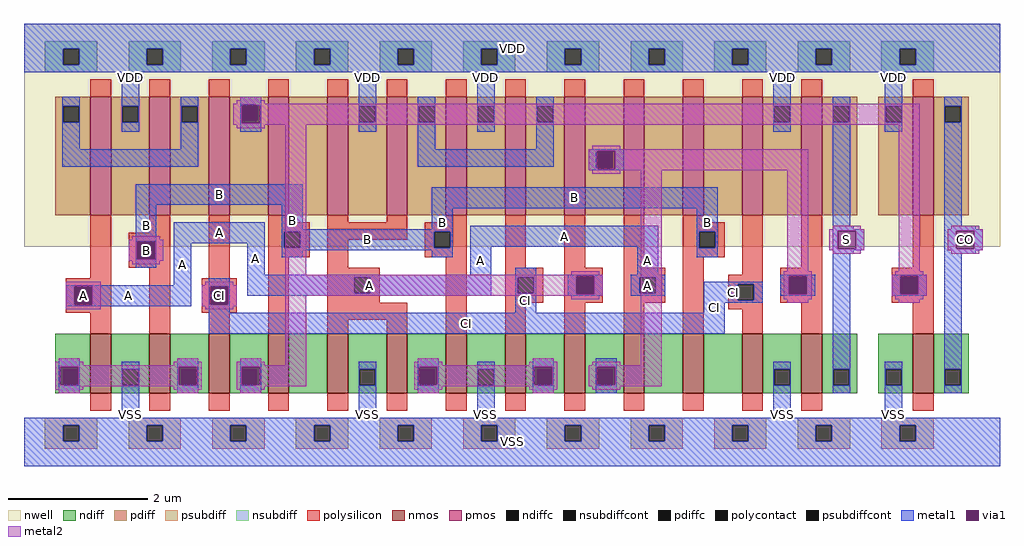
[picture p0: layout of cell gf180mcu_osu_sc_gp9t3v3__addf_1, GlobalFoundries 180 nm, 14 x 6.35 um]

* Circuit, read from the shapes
.subckt gf180mcu_osu_sc_gp9t3v3__addf_1 A B CI S CO VDD VSS
XM1 VSS A n1 VSS nfet_03v3 w=0.85u l=0.3u
XM2 n1 B VSS VSS nfet_03v3 w=0.85u l=0.3u
XM3 n2 CI n1 VSS nfet_03v3 w=0.85u l=0.3u
XM4 n3 B n2 VSS nfet_03v3 w=0.85u l=0.3u
XM5 VSS A n3 VSS nfet_03v3 w=0.85u l=0.3u
XM6 n4 A VSS VSS nfet_03v3 w=0.85u l=0.3u
XM7 VSS B n4 VSS nfet_03v3 w=0.85u l=0.3u
XM8 n4 CI VSS VSS nfet_03v3 w=0.85u l=0.3u
XM9 n5 n2 n4 VSS nfet_03v3 w=0.85u l=0.3u
XM10 n6 A n5 VSS nfet_03v3 w=0.85u l=0.3u
XM11 n7 B n6 VSS nfet_03v3 w=0.85u l=0.3u
XM12 VSS CI n7 VSS nfet_03v3 w=0.85u l=0.3u
XM13 S n5 VSS VSS nfet_03v3 w=0.85u l=0.3u
XM14 CO n2 VSS VSS nfet_03v3 w=0.85u l=0.3u
XM15 VDD A n8 VDD pfet_03v3 w=1.7u l=0.3u
XM16 n8 B VDD VDD pfet_03v3 w=1.7u l=0.3u
XM17 n2 CI n8 VDD pfet_03v3 w=1.7u l=0.3u
XM18 n9 B n2 VDD pfet_03v3 w=1.7u l=0.3u
XM19 VDD A n9 VDD pfet_03v3 w=1.7u l=0.3u
XM20 n10 A VDD VDD pfet_03v3 w=1.7u l=0.3u
XM21 VDD B n10 VDD pfet_03v3 w=1.7u l=0.3u
XM22 n10 CI VDD VDD pfet_03v3 w=1.7u l=0.3u
XM23 n5 n2 n10 VDD pfet_03v3 w=1.7u l=0.3u
XM24 n11 A n5 VDD pfet_03v3 w=1.7u l=0.3u
XM25 n12 B n11 VDD pfet_03v3 w=1.7u l=0.3u
XM26 VDD CI n12 VDD pfet_03v3 w=1.7u l=0.3u
XM27 S n5 VDD VDD pfet_03v3 w=1.7u l=0.3u
XM28 CO n2 VDD VDD pfet_03v3 w=1.7u l=0.3u
.ends

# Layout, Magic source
magic
tech gf180mcuA
magscale 1 10
<< nwell >>
rect 0 630 2800 1270
<< nmos >>
rect 190 210 250 380
rect 360 210 420 380
rect 530 210 590 380
rect 700 210 760 380
rect 870 210 930 380
rect 1040 210 1100 380
rect 1210 210 1270 380
rect 1380 210 1440 380
rect 1550 210 1610 380
rect 1720 210 1780 380
rect 1890 210 1950 380
rect 2060 210 2120 380
rect 2230 210 2290 380
rect 2550 210 2610 380
<< pmos >>
rect 190 720 250 1060
rect 360 720 420 1060
rect 530 720 590 1060
rect 700 720 760 1060
rect 870 720 930 1060
rect 1040 720 1100 1060
rect 1210 720 1270 1060
rect 1380 720 1440 1060
rect 1550 720 1610 1060
rect 1720 720 1780 1060
rect 1890 720 1950 1060
rect 2060 720 2120 1060
rect 2230 720 2290 1060
rect 2550 720 2610 1060
<< ndiff >>
rect 90 278 190 380
rect 90 232 112 278
rect 158 232 190 278
rect 90 210 190 232
rect 250 278 360 380
rect 250 232 282 278
rect 328 232 360 278
rect 250 210 360 232
rect 420 278 530 380
rect 420 232 452 278
rect 498 232 530 278
rect 420 210 530 232
rect 590 278 700 380
rect 590 232 622 278
rect 668 232 700 278
rect 590 210 700 232
rect 760 210 870 380
rect 930 278 1040 380
rect 930 232 962 278
rect 1008 232 1040 278
rect 930 210 1040 232
rect 1100 278 1210 380
rect 1100 232 1132 278
rect 1178 232 1210 278
rect 1100 210 1210 232
rect 1270 278 1380 380
rect 1270 232 1302 278
rect 1348 232 1380 278
rect 1270 210 1380 232
rect 1440 278 1550 380
rect 1440 232 1472 278
rect 1518 232 1550 278
rect 1440 210 1550 232
rect 1610 278 1720 380
rect 1610 232 1642 278
rect 1688 232 1720 278
rect 1610 210 1720 232
rect 1780 210 1890 380
rect 1950 210 2060 380
rect 2120 278 2230 380
rect 2120 232 2152 278
rect 2198 232 2230 278
rect 2120 210 2230 232
rect 2290 278 2390 380
rect 2290 232 2322 278
rect 2368 232 2390 278
rect 2290 210 2390 232
rect 2450 278 2550 380
rect 2450 232 2472 278
rect 2518 232 2550 278
rect 2450 210 2550 232
rect 2610 278 2710 380
rect 2610 232 2642 278
rect 2688 232 2710 278
rect 2610 210 2710 232
<< pdiff >>
rect 90 1033 190 1060
rect 90 987 112 1033
rect 158 987 190 1033
rect 90 720 190 987
rect 250 1033 360 1060
rect 250 987 282 1033
rect 328 987 360 1033
rect 250 720 360 987
rect 420 1033 530 1060
rect 420 987 452 1033
rect 498 987 530 1033
rect 420 720 530 987
rect 590 1038 700 1060
rect 590 992 622 1038
rect 668 992 700 1038
rect 590 720 700 992
rect 760 720 870 1060
rect 930 1033 1040 1060
rect 930 987 962 1033
rect 1008 987 1040 1033
rect 930 720 1040 987
rect 1100 1033 1210 1060
rect 1100 987 1132 1033
rect 1178 987 1210 1033
rect 1100 720 1210 987
rect 1270 1033 1380 1060
rect 1270 987 1302 1033
rect 1348 987 1380 1033
rect 1270 720 1380 987
rect 1440 1033 1550 1060
rect 1440 987 1472 1033
rect 1518 987 1550 1033
rect 1440 720 1550 987
rect 1610 903 1720 1060
rect 1610 857 1642 903
rect 1688 857 1720 903
rect 1610 720 1720 857
rect 1780 720 1890 1060
rect 1950 720 2060 1060
rect 2120 1033 2230 1060
rect 2120 987 2152 1033
rect 2198 987 2230 1033
rect 2120 720 2230 987
rect 2290 1033 2390 1060
rect 2290 987 2322 1033
rect 2368 987 2390 1033
rect 2290 720 2390 987
rect 2450 1033 2550 1060
rect 2450 987 2472 1033
rect 2518 987 2550 1033
rect 2450 720 2550 987
rect 2610 1033 2710 1060
rect 2610 987 2642 1033
rect 2688 987 2710 1033
rect 2610 720 2710 987
<< ndiffc >>
rect 112 232 158 278
rect 282 232 328 278
rect 452 232 498 278
rect 622 232 668 278
rect 962 232 1008 278
rect 1132 232 1178 278
rect 1302 232 1348 278
rect 1472 232 1518 278
rect 1642 232 1688 278
rect 2152 232 2198 278
rect 2322 232 2368 278
rect 2472 232 2518 278
rect 2642 232 2688 278
<< pdiffc >>
rect 112 987 158 1033
rect 282 987 328 1033
rect 452 987 498 1033
rect 622 992 668 1038
rect 962 987 1008 1033
rect 1132 987 1178 1033
rect 1302 987 1348 1033
rect 1472 987 1518 1033
rect 1642 857 1688 903
rect 2152 987 2198 1033
rect 2322 987 2368 1033
rect 2472 987 2518 1033
rect 2642 987 2688 1033
<< psubdiff >>
rect 60 118 210 140
rect 60 72 112 118
rect 158 72 210 118
rect 60 50 210 72
rect 300 118 450 140
rect 300 72 352 118
rect 398 72 450 118
rect 300 50 450 72
rect 540 118 690 140
rect 540 72 592 118
rect 638 72 690 118
rect 540 50 690 72
rect 780 118 930 140
rect 780 72 832 118
rect 878 72 930 118
rect 780 50 930 72
rect 1020 118 1170 140
rect 1020 72 1072 118
rect 1118 72 1170 118
rect 1020 50 1170 72
rect 1260 118 1410 140
rect 1260 72 1312 118
rect 1358 72 1410 118
rect 1260 50 1410 72
rect 1500 118 1650 140
rect 1500 72 1552 118
rect 1598 72 1650 118
rect 1500 50 1650 72
rect 1740 118 1890 140
rect 1740 72 1792 118
rect 1838 72 1890 118
rect 1740 50 1890 72
rect 1980 118 2130 140
rect 1980 72 2032 118
rect 2078 72 2130 118
rect 1980 50 2130 72
rect 2220 118 2370 140
rect 2220 72 2272 118
rect 2318 72 2370 118
rect 2220 50 2370 72
rect 2460 118 2610 140
rect 2460 72 2512 118
rect 2558 72 2610 118
rect 2460 50 2610 72
<< nsubdiff >>
rect 60 1198 210 1220
rect 60 1152 112 1198
rect 158 1152 210 1198
rect 60 1130 210 1152
rect 300 1198 450 1220
rect 300 1152 352 1198
rect 398 1152 450 1198
rect 300 1130 450 1152
rect 540 1198 690 1220
rect 540 1152 592 1198
rect 638 1152 690 1198
rect 540 1130 690 1152
rect 780 1198 930 1220
rect 780 1152 832 1198
rect 878 1152 930 1198
rect 780 1130 930 1152
rect 1020 1198 1170 1220
rect 1020 1152 1072 1198
rect 1118 1152 1170 1198
rect 1020 1130 1170 1152
rect 1260 1198 1410 1220
rect 1260 1152 1312 1198
rect 1358 1152 1410 1198
rect 1260 1130 1410 1152
rect 1500 1198 1650 1220
rect 1500 1152 1552 1198
rect 1598 1152 1650 1198
rect 1500 1130 1650 1152
rect 1740 1198 1890 1220
rect 1740 1152 1792 1198
rect 1838 1152 1890 1198
rect 1740 1130 1890 1152
rect 1980 1198 2130 1220
rect 1980 1152 2032 1198
rect 2078 1152 2130 1198
rect 1980 1130 2130 1152
rect 2220 1198 2370 1220
rect 2220 1152 2272 1198
rect 2318 1152 2370 1198
rect 2220 1130 2370 1152
rect 2460 1198 2610 1220
rect 2460 1152 2512 1198
rect 2558 1152 2610 1198
rect 2460 1130 2610 1152
<< psubdiffcont >>
rect 112 72 158 118
rect 352 72 398 118
rect 592 72 638 118
rect 832 72 878 118
rect 1072 72 1118 118
rect 1312 72 1358 118
rect 1552 72 1598 118
rect 1792 72 1838 118
rect 2032 72 2078 118
rect 2272 72 2318 118
rect 2512 72 2558 118
<< nsubdiffcont >>
rect 112 1152 158 1198
rect 352 1152 398 1198
rect 592 1152 638 1198
rect 832 1152 878 1198
rect 1072 1152 1118 1198
rect 1312 1152 1358 1198
rect 1552 1152 1598 1198
rect 1792 1152 1838 1198
rect 2032 1152 2078 1198
rect 2272 1152 2318 1198
rect 2512 1152 2558 1198
<< polysilicon >>
rect 190 1060 250 1110
rect 360 1060 420 1110
rect 530 1060 590 1110
rect 700 1060 760 1110
rect 870 1060 930 1110
rect 1040 1060 1100 1110
rect 1210 1060 1270 1110
rect 1380 1060 1440 1110
rect 1550 1060 1610 1110
rect 1720 1060 1780 1110
rect 1890 1060 1950 1110
rect 2060 1060 2120 1110
rect 2230 1060 2290 1110
rect 2550 1060 2610 1110
rect 190 540 250 720
rect 360 670 420 720
rect 300 643 420 670
rect 300 597 327 643
rect 373 597 420 643
rect 300 570 420 597
rect 120 513 250 540
rect 120 467 147 513
rect 193 467 250 513
rect 120 440 250 467
rect 190 380 250 440
rect 360 380 420 570
rect 530 540 590 720
rect 700 700 760 720
rect 870 700 930 720
rect 1040 700 1100 720
rect 1210 700 1270 720
rect 700 673 820 700
rect 700 627 747 673
rect 793 627 820 673
rect 700 600 820 627
rect 870 650 1100 700
rect 1150 673 1270 700
rect 510 513 610 540
rect 510 467 537 513
rect 583 467 610 513
rect 510 440 610 467
rect 530 380 590 440
rect 700 380 760 600
rect 870 570 930 650
rect 1150 627 1177 673
rect 1223 627 1270 673
rect 1150 600 1270 627
rect 870 543 1020 570
rect 870 497 947 543
rect 993 497 1020 543
rect 870 470 1020 497
rect 870 420 1100 470
rect 870 380 930 420
rect 1040 380 1100 420
rect 1210 380 1270 600
rect 1380 570 1440 720
rect 1550 570 1610 720
rect 1720 570 1780 720
rect 1890 700 1950 720
rect 1890 673 2010 700
rect 1890 627 1937 673
rect 1983 627 2010 673
rect 1890 600 2010 627
rect 1380 543 1490 570
rect 1380 497 1417 543
rect 1463 497 1490 543
rect 1380 470 1490 497
rect 1550 543 1660 570
rect 1550 497 1587 543
rect 1633 497 1660 543
rect 1550 470 1660 497
rect 1720 543 1840 570
rect 1720 497 1767 543
rect 1813 497 1840 543
rect 1720 470 1840 497
rect 1380 380 1440 470
rect 1550 380 1610 470
rect 1720 380 1780 470
rect 1890 380 1950 600
rect 2060 550 2120 720
rect 2230 570 2290 720
rect 2550 570 2610 720
rect 2020 523 2120 550
rect 2020 477 2047 523
rect 2093 477 2120 523
rect 2020 450 2120 477
rect 2170 543 2290 570
rect 2170 497 2197 543
rect 2243 497 2290 543
rect 2170 470 2290 497
rect 2490 543 2610 570
rect 2490 497 2517 543
rect 2563 497 2610 543
rect 2490 470 2610 497
rect 2060 380 2120 450
rect 2230 380 2290 470
rect 2550 380 2610 470
rect 190 160 250 210
rect 360 160 420 210
rect 530 160 590 210
rect 700 160 760 210
rect 870 160 930 210
rect 1040 160 1100 210
rect 1210 160 1270 210
rect 1380 160 1440 210
rect 1550 160 1610 210
rect 1720 160 1780 210
rect 1890 160 1950 210
rect 2060 160 2120 210
rect 2230 160 2290 210
rect 2550 160 2610 210
<< polycontact >>
rect 327 597 373 643
rect 147 467 193 513
rect 747 627 793 673
rect 537 467 583 513
rect 1177 627 1223 673
rect 947 497 993 543
rect 1937 627 1983 673
rect 1417 497 1463 543
rect 1587 497 1633 543
rect 1767 497 1813 543
rect 2047 477 2093 523
rect 2197 497 2243 543
rect 2517 497 2563 543
<< metal1 >>
rect 0 1198 2800 1270
rect 0 1152 112 1198
rect 158 1152 352 1198
rect 398 1152 592 1198
rect 638 1152 832 1198
rect 878 1152 1072 1198
rect 1118 1152 1312 1198
rect 1358 1152 1552 1198
rect 1598 1152 1792 1198
rect 1838 1152 2032 1198
rect 2078 1152 2272 1198
rect 2318 1152 2512 1198
rect 2558 1152 2800 1198
rect 0 1130 2800 1152
rect 110 1033 160 1060
rect 110 987 112 1033
rect 158 987 160 1033
rect 110 910 160 987
rect 280 1033 330 1130
rect 280 987 282 1033
rect 328 987 330 1033
rect 280 960 330 987
rect 450 1033 500 1060
rect 450 987 452 1033
rect 498 987 500 1033
rect 450 910 500 987
rect 620 1038 680 1060
rect 620 992 622 1038
rect 668 1036 680 1038
rect 620 984 624 992
rect 676 984 680 1036
rect 620 960 680 984
rect 960 1033 1010 1130
rect 960 987 962 1033
rect 1008 987 1010 1033
rect 960 960 1010 987
rect 1130 1033 1180 1060
rect 1130 987 1132 1033
rect 1178 987 1180 1033
rect 110 860 500 910
rect 1130 910 1180 987
rect 1300 1033 1350 1130
rect 1300 987 1302 1033
rect 1348 987 1350 1033
rect 1300 960 1350 987
rect 1470 1033 1520 1060
rect 1470 987 1472 1033
rect 1518 987 1520 1033
rect 1470 910 1520 987
rect 2150 1033 2200 1130
rect 2150 987 2152 1033
rect 2198 987 2200 1033
rect 2150 960 2200 987
rect 2320 1033 2370 1060
rect 2320 987 2322 1033
rect 2368 987 2370 1033
rect 1130 860 1520 910
rect 1620 906 1720 910
rect 1620 903 1644 906
rect 1620 857 1642 903
rect 1620 854 1644 857
rect 1696 854 1720 906
rect 1620 850 1720 854
rect 320 750 800 810
rect 320 646 380 750
rect 320 594 324 646
rect 376 594 380 646
rect 320 570 380 594
rect 430 640 690 700
rect 430 520 480 640
rect 640 550 690 640
rect 740 680 800 750
rect 1170 740 1990 800
rect 1170 680 1230 740
rect 740 673 1230 680
rect 740 627 747 673
rect 793 627 1177 673
rect 1223 627 1230 673
rect 740 620 1230 627
rect 740 600 800 620
rect 1170 600 1230 620
rect 1280 630 1820 690
rect 1280 550 1340 630
rect 640 543 1340 550
rect 120 516 480 520
rect 120 464 144 516
rect 196 464 480 516
rect 120 460 480 464
rect 530 516 590 540
rect 530 464 534 516
rect 586 464 590 516
rect 640 497 947 543
rect 993 497 1340 543
rect 640 490 1340 497
rect 1410 543 1470 570
rect 1760 550 1820 630
rect 1930 673 1990 740
rect 1930 627 1937 673
rect 1983 627 1990 673
rect 1930 600 1990 627
rect 2320 690 2370 987
rect 2470 1033 2520 1130
rect 2470 987 2472 1033
rect 2518 987 2520 1033
rect 2470 960 2520 987
rect 2640 1033 2690 1060
rect 2640 987 2642 1033
rect 2688 987 2690 1033
rect 2640 690 2690 987
rect 2320 680 2380 690
rect 2640 680 2730 690
rect 2320 676 2410 680
rect 2320 624 2334 676
rect 2386 624 2410 676
rect 2320 620 2410 624
rect 2640 676 2750 680
rect 2640 624 2674 676
rect 2726 624 2750 676
rect 2640 620 2750 624
rect 2320 610 2380 620
rect 2640 610 2730 620
rect 1410 497 1417 543
rect 1463 497 1470 543
rect 530 440 590 464
rect 1410 440 1470 497
rect 1560 546 1660 550
rect 1560 494 1584 546
rect 1636 494 1660 546
rect 1560 490 1660 494
rect 1740 543 1840 550
rect 1740 497 1767 543
rect 1813 497 1840 543
rect 2170 546 2270 550
rect 1740 490 1840 497
rect 1950 523 2120 530
rect 1950 477 2047 523
rect 2093 477 2120 523
rect 2170 494 2194 546
rect 2246 494 2270 546
rect 2170 490 2270 494
rect 1950 470 2120 477
rect 1950 440 2010 470
rect 530 380 2010 440
rect 100 286 160 310
rect 100 234 104 286
rect 156 278 160 286
rect 100 232 112 234
rect 158 232 160 278
rect 100 210 160 232
rect 280 278 330 300
rect 280 232 282 278
rect 328 232 330 278
rect 280 140 330 232
rect 440 286 500 310
rect 440 234 444 286
rect 496 278 500 286
rect 440 232 452 234
rect 498 232 500 278
rect 440 210 500 232
rect 620 286 680 310
rect 620 278 624 286
rect 620 232 622 278
rect 676 234 680 286
rect 668 232 680 234
rect 620 210 680 232
rect 960 278 1010 300
rect 960 232 962 278
rect 1008 232 1010 278
rect 960 140 1010 232
rect 1130 286 1190 310
rect 1130 278 1134 286
rect 1130 232 1132 278
rect 1186 234 1190 286
rect 1178 232 1190 234
rect 1130 210 1190 232
rect 1300 278 1350 300
rect 1300 232 1302 278
rect 1348 232 1350 278
rect 1300 140 1350 232
rect 1460 286 1520 310
rect 1460 234 1464 286
rect 1516 278 1520 286
rect 1460 232 1472 234
rect 1518 232 1520 278
rect 1460 210 1520 232
rect 1640 286 1700 310
rect 1640 278 1644 286
rect 1640 232 1642 278
rect 1696 234 1700 286
rect 1688 232 1700 234
rect 1640 210 1700 232
rect 2150 278 2200 300
rect 2150 232 2152 278
rect 2198 232 2200 278
rect 2150 140 2200 232
rect 2320 278 2370 610
rect 2490 546 2590 550
rect 2490 494 2514 546
rect 2566 494 2590 546
rect 2490 490 2590 494
rect 2320 232 2322 278
rect 2368 232 2370 278
rect 2320 210 2370 232
rect 2470 278 2520 300
rect 2470 232 2472 278
rect 2518 232 2520 278
rect 2470 140 2520 232
rect 2640 278 2690 610
rect 2640 232 2642 278
rect 2688 232 2690 278
rect 2640 210 2690 232
rect 0 118 2800 140
rect 0 72 112 118
rect 158 72 352 118
rect 398 72 592 118
rect 638 72 832 118
rect 878 72 1072 118
rect 1118 72 1312 118
rect 1358 72 1552 118
rect 1598 72 1792 118
rect 1838 72 2032 118
rect 2078 72 2272 118
rect 2318 72 2512 118
rect 2558 72 2800 118
rect 0 0 2800 72
<< via1 >>
rect 624 992 668 1036
rect 668 992 676 1036
rect 624 984 676 992
rect 1644 903 1696 906
rect 1644 857 1688 903
rect 1688 857 1696 903
rect 1644 854 1696 857
rect 324 643 376 646
rect 324 597 327 643
rect 327 597 373 643
rect 373 597 376 643
rect 324 594 376 597
rect 144 513 196 516
rect 144 467 147 513
rect 147 467 193 513
rect 193 467 196 513
rect 144 464 196 467
rect 534 513 586 516
rect 534 467 537 513
rect 537 467 583 513
rect 583 467 586 513
rect 534 464 586 467
rect 2334 624 2386 676
rect 2674 624 2726 676
rect 1584 543 1636 546
rect 1584 497 1587 543
rect 1587 497 1633 543
rect 1633 497 1636 543
rect 1584 494 1636 497
rect 2194 543 2246 546
rect 2194 497 2197 543
rect 2197 497 2243 543
rect 2243 497 2246 543
rect 2194 494 2246 497
rect 104 278 156 286
rect 104 234 112 278
rect 112 234 156 278
rect 444 278 496 286
rect 444 234 452 278
rect 452 234 496 278
rect 624 278 676 286
rect 624 234 668 278
rect 668 234 676 278
rect 1134 278 1186 286
rect 1134 234 1178 278
rect 1178 234 1186 278
rect 1464 278 1516 286
rect 1464 234 1472 278
rect 1472 234 1516 278
rect 1644 278 1696 286
rect 1644 234 1688 278
rect 1688 234 1696 278
rect 2514 543 2566 546
rect 2514 497 2517 543
rect 2517 497 2563 543
rect 2563 497 2566 543
rect 2514 494 2566 497
<< metal2 >>
rect 620 1050 680 1060
rect 610 1040 690 1050
rect 600 1036 2570 1040
rect 600 984 624 1036
rect 676 984 2570 1036
rect 600 980 2570 984
rect 610 970 690 980
rect 310 650 390 660
rect 300 646 400 650
rect 300 594 324 646
rect 376 594 400 646
rect 300 590 400 594
rect 310 580 390 590
rect 750 550 810 980
rect 1630 910 1710 920
rect 1620 906 2250 910
rect 1620 854 1644 906
rect 1696 854 2250 906
rect 1620 850 2250 854
rect 1630 840 1710 850
rect 1570 550 1650 560
rect 750 546 1660 550
rect 120 516 220 530
rect 520 520 600 530
rect 120 464 144 516
rect 196 464 220 516
rect 120 450 220 464
rect 510 516 610 520
rect 510 464 534 516
rect 586 464 610 516
rect 510 460 610 464
rect 750 494 1584 546
rect 1636 494 1660 546
rect 750 490 1660 494
rect 520 450 600 460
rect 100 300 160 310
rect 440 300 500 310
rect 620 300 680 310
rect 90 290 170 300
rect 430 290 510 300
rect 90 286 510 290
rect 90 234 104 286
rect 156 234 444 286
rect 496 234 510 286
rect 90 230 510 234
rect 90 220 170 230
rect 430 220 510 230
rect 610 290 690 300
rect 750 290 810 490
rect 1570 480 1650 490
rect 1130 300 1190 310
rect 1460 300 1520 310
rect 610 286 810 290
rect 610 234 624 286
rect 676 234 810 286
rect 610 230 810 234
rect 1120 290 1200 300
rect 1450 290 1530 300
rect 1630 290 1710 300
rect 1770 290 1830 850
rect 2190 560 2250 850
rect 2320 680 2400 690
rect 2310 676 2410 680
rect 2310 624 2334 676
rect 2386 624 2410 676
rect 2310 620 2410 624
rect 2320 610 2400 620
rect 2510 560 2570 980
rect 2660 680 2740 690
rect 2650 676 2750 680
rect 2650 624 2674 676
rect 2726 624 2750 676
rect 2650 620 2750 624
rect 2660 610 2740 620
rect 2180 546 2260 560
rect 2500 550 2580 560
rect 2180 494 2194 546
rect 2246 494 2260 546
rect 2180 480 2260 494
rect 2490 546 2590 550
rect 2490 494 2514 546
rect 2566 494 2590 546
rect 2490 490 2590 494
rect 2500 480 2580 490
rect 2190 470 2250 480
rect 2510 470 2570 480
rect 1120 286 1530 290
rect 1120 234 1134 286
rect 1186 234 1464 286
rect 1516 234 1530 286
rect 1120 230 1530 234
rect 1620 286 1830 290
rect 1620 234 1644 286
rect 1696 234 1830 286
rect 1620 230 1830 234
rect 610 220 690 230
rect 1120 220 1200 230
rect 1450 220 1530 230
rect 1630 220 1710 230
rect 100 210 160 220
rect 440 210 500 220
rect 620 210 680 220
rect 1130 210 1190 220
rect 1460 210 1520 220
<< labels >>
rlabel via1 s 144 464 196 516 4 A
port 1 nsew signal input
rlabel via1 s 324 594 376 646 4 B
port 2 nsew signal input
rlabel via1 s 534 464 586 516 4 CI
port 3 nsew signal input
rlabel via1 s 2334 624 2386 676 4 S
port 4 nsew signal output
rlabel via1 s 2674 624 2726 676 4 CO
port 5 nsew signal output
rlabel metal1 s 280 960 330 1270 4 VDD
port 6 nsew power bidirectional abutment
rlabel metal1 s 280 0 330 300 4 VSS
port 7 nsew ground bidirectional abutment
rlabel metal1 s 960 960 1010 1270 1 VDD
port 6 nsew power bidirectional abutment
rlabel metal1 s 1300 960 1350 1270 1 VDD
port 6 nsew power bidirectional abutment
rlabel metal1 s 2150 960 2200 1270 1 VDD
port 6 nsew power bidirectional abutment
rlabel metal1 s 2470 960 2520 1270 1 VDD
port 6 nsew power bidirectional abutment
rlabel metal1 s 0 1130 2800 1270 1 VDD
port 6 nsew power bidirectional abutment
rlabel metal1 s 960 0 1010 300 1 VSS
port 7 nsew ground bidirectional abutment
rlabel metal1 s 1300 0 1350 300 1 VSS
port 7 nsew ground bidirectional abutment
rlabel metal1 s 2150 0 2200 300 1 VSS
port 7 nsew ground bidirectional abutment
rlabel metal1 s 2470 0 2520 300 1 VSS
port 7 nsew ground bidirectional abutment
rlabel metal1 s 0 0 2800 140 1 VSS
port 7 nsew ground bidirectional abutment
rlabel metal2 s 120 450 220 530 1 A
port 1 nsew signal input
rlabel metal1 s 120 460 480 520 1 A
port 1 nsew signal input
rlabel metal1 s 430 460 480 700 1 A
port 1 nsew signal input
rlabel metal1 s 640 490 690 700 1 A
port 1 nsew signal input
rlabel metal1 s 430 640 690 700 1 A
port 1 nsew signal input
rlabel metal1 s 640 490 1340 550 1 A
port 1 nsew signal input
rlabel metal1 s 1280 490 1340 690 1 A
port 1 nsew signal input
rlabel metal1 s 1760 490 1820 690 1 A
port 1 nsew signal input
rlabel metal1 s 1280 630 1820 690 1 A
port 1 nsew signal input
rlabel metal1 s 1740 490 1840 550 1 A
port 1 nsew signal input
rlabel metal2 s 310 580 390 660 1 B
port 2 nsew signal input
rlabel metal2 s 300 590 400 650 1 B
port 2 nsew signal input
rlabel metal1 s 320 570 380 810 1 B
port 2 nsew signal input
rlabel metal1 s 740 600 800 810 1 B
port 2 nsew signal input
rlabel metal1 s 320 750 800 810 1 B
port 2 nsew signal input
rlabel metal1 s 740 620 1230 680 1 B
port 2 nsew signal input
rlabel metal1 s 1170 600 1230 800 1 B
port 2 nsew signal input
rlabel metal1 s 1930 600 1990 800 1 B
port 2 nsew signal input
rlabel metal1 s 1170 740 1990 800 1 B
port 2 nsew signal input
rlabel metal2 s 520 450 600 530 1 CI
port 3 nsew signal input
rlabel metal2 s 510 460 610 520 1 CI
port 3 nsew signal input
rlabel metal1 s 530 380 590 540 1 CI
port 3 nsew signal input
rlabel metal1 s 1410 380 1470 570 1 CI
port 3 nsew signal input
rlabel metal1 s 530 380 2010 440 1 CI
port 3 nsew signal input
rlabel metal1 s 1950 380 2010 530 1 CI
port 3 nsew signal input
rlabel metal1 s 1950 470 2120 530 1 CI
port 3 nsew signal input
rlabel metal2 s 2660 610 2740 690 1 CO
port 5 nsew signal output
rlabel metal2 s 2650 620 2750 680 1 CO
port 5 nsew signal output
rlabel metal1 s 2640 210 2690 1060 1 CO
port 5 nsew signal output
rlabel metal1 s 2640 610 2730 690 1 CO
port 5 nsew signal output
rlabel metal1 s 2640 620 2750 680 1 CO
port 5 nsew signal output
rlabel metal2 s 2320 610 2400 690 1 S
port 4 nsew signal output
rlabel metal2 s 2310 620 2410 680 1 S
port 4 nsew signal output
rlabel metal1 s 2320 210 2370 1060 1 S
port 4 nsew signal output
rlabel metal1 s 2320 610 2380 690 1 S
port 4 nsew signal output
rlabel metal1 s 2320 620 2410 680 1 S
port 4 nsew signal output
<< properties >>
string FIXED_BBOX 0 0 2800 1270
string GDS_END 19748
string GDS_FILE $PDKPATH/libs.ref/gf180mcu_osu_sc_gp9t3v3/gds/gf180mcu_osu_sc_gp9t3v3.gds
string GDS_START 146
string LEFclass CORE
string LEFsite gf180mcu_osu_sc_gp9t3v3
string LEFsymmetry X Y
<< end >>
